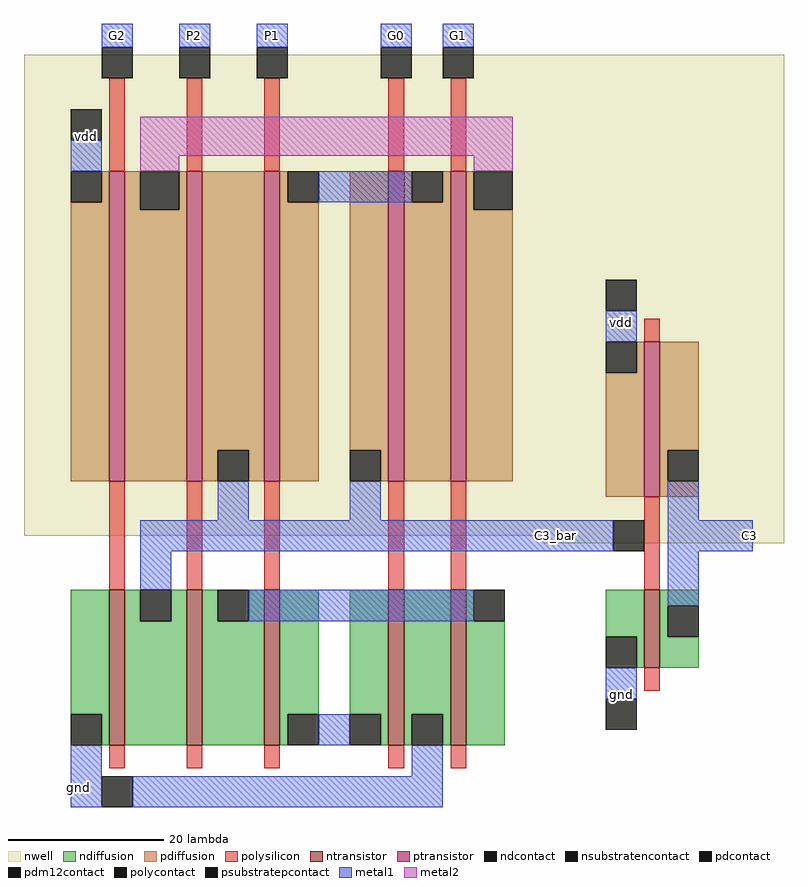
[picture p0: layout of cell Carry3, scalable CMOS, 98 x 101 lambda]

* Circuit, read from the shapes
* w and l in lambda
.subckt Carry3 C3 C3_bar G0 G1 G2 P1 P2 gnd vdd
M1 C3_bar G2 gnd gnd nfet w=20 l=2
M2 n1 P2 C3_bar gnd nfet w=20 l=2
M3 n2 P1 n1 gnd nfet w=20 l=2
M4 gnd G0 n2 gnd nfet w=20 l=2
M5 n1 G1 gnd gnd nfet w=20 l=2
M6 C3 C3_bar gnd gnd nfet w=10 l=2
M7 n3 G2 vdd vdd pfet w=40 l=2
M8 C3_bar P2 n3 vdd pfet w=40 l=2
M9 n4 P1 C3_bar vdd pfet w=40 l=2
M10 n4 G0 C3_bar vdd pfet w=40 l=2
M11 n3 G1 n4 vdd pfet w=40 l=2
M12 C3 C3_bar vdd vdd pfet w=20 l=2
.ends

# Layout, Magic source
magic
tech scmos
<< nwell >>
rect -11 29 87 91
rect 56 28 87 29
<< ntransistor >>
rect 0 2 2 22
rect 10 2 12 22
rect 20 2 22 22
rect 36 2 38 22
rect 44 2 46 22
rect 69 12 71 22
<< ptransistor >>
rect 0 36 2 76
rect 10 36 12 76
rect 20 36 22 76
rect 36 36 38 76
rect 44 36 46 76
rect 69 34 71 54
<< ndiffusion >>
rect -5 6 0 22
rect -1 2 0 6
rect 2 18 4 22
rect 8 18 10 22
rect 2 2 10 18
rect 12 18 14 22
rect 18 18 20 22
rect 12 2 20 18
rect 22 6 27 22
rect 22 2 23 6
rect 31 6 36 22
rect 35 2 36 6
rect 38 6 44 22
rect 38 2 39 6
rect 43 2 44 6
rect 46 18 47 22
rect 46 2 51 18
rect 64 16 69 22
rect 68 12 69 16
rect 71 20 76 22
rect 71 16 72 20
rect 71 12 76 16
<< pdiffusion >>
rect -1 72 0 76
rect -5 36 0 72
rect 2 71 4 76
rect 9 71 10 76
rect 2 36 10 71
rect 12 40 20 76
rect 12 36 14 40
rect 18 36 20 40
rect 22 72 23 76
rect 22 36 27 72
rect 31 40 36 76
rect 35 36 36 40
rect 38 72 39 76
rect 43 72 44 76
rect 38 36 44 72
rect 46 71 47 76
rect 46 36 52 71
rect 68 50 69 54
rect 64 34 69 50
rect 71 40 76 54
rect 71 36 72 40
rect 71 34 76 36
<< ndcontact >>
rect -5 2 -1 6
rect 4 18 8 22
rect 14 18 18 22
rect 23 2 27 6
rect 31 2 35 6
rect 39 2 43 6
rect 47 18 51 22
rect 64 12 68 16
rect 72 16 76 20
<< pdcontact >>
rect -5 72 -1 76
rect 14 36 18 40
rect 23 72 27 76
rect 31 36 35 40
rect 39 72 43 76
rect 64 50 68 54
rect 72 36 76 40
<< psubstratepcontact >>
rect 64 4 68 8
rect -1 -6 3 -2
<< nsubstratencontact >>
rect -5 80 -1 84
rect 64 58 68 62
<< polysilicon >>
rect 0 76 2 88
rect 10 76 12 88
rect 20 76 22 88
rect 36 76 38 88
rect 44 76 46 88
rect 69 54 71 57
rect 0 22 2 36
rect 10 22 12 36
rect 20 22 22 36
rect 36 22 38 36
rect 44 22 46 36
rect 69 22 71 34
rect 69 9 71 12
rect 0 -1 2 2
rect 10 -1 12 2
rect 20 -1 22 2
rect 36 -1 38 2
rect 44 -1 46 2
<< polycontact >>
rect -1 88 3 92
rect 9 88 13 92
rect 19 88 23 92
rect 35 88 39 92
rect 43 88 47 92
rect 65 27 69 31
<< metal1 >>
rect -1 92 3 95
rect 9 92 13 95
rect 19 92 23 95
rect 35 92 39 95
rect 43 92 47 95
rect -5 76 -1 80
rect 27 72 39 76
rect 64 54 68 58
rect 14 31 18 36
rect 31 31 35 36
rect 72 31 76 36
rect 4 27 65 31
rect 72 27 83 31
rect 4 22 8 27
rect 18 18 47 22
rect 72 20 76 27
rect 64 8 68 12
rect 27 2 31 6
rect -5 -6 -1 2
rect 39 -2 43 2
rect 3 -6 43 -2
<< pdm12contact >>
rect 4 71 9 76
rect 47 71 52 76
<< metal2 >>
rect 4 78 52 83
rect 4 76 9 78
rect 47 76 52 78
<< labels >>
rlabel metal1 -5 -4 -3 -3 1 gnd
rlabel nsubstratencontact -4 80 -2 81 1 vdd
rlabel metal1 0 93 2 94 5 G2
rlabel metal1 10 93 12 94 5 P2
rlabel metal1 20 93 22 94 5 P1
rlabel metal1 36 93 38 94 5 G0
rlabel metal1 44 93 46 94 5 G1
rlabel metal1 64 56 68 57 1 vdd
rlabel metal1 64 8 68 9 1 gnd
rlabel metal1 57 28 58 30 1 C3_bar
rlabel metal1 82 28 83 30 7 C3
<< end >>
